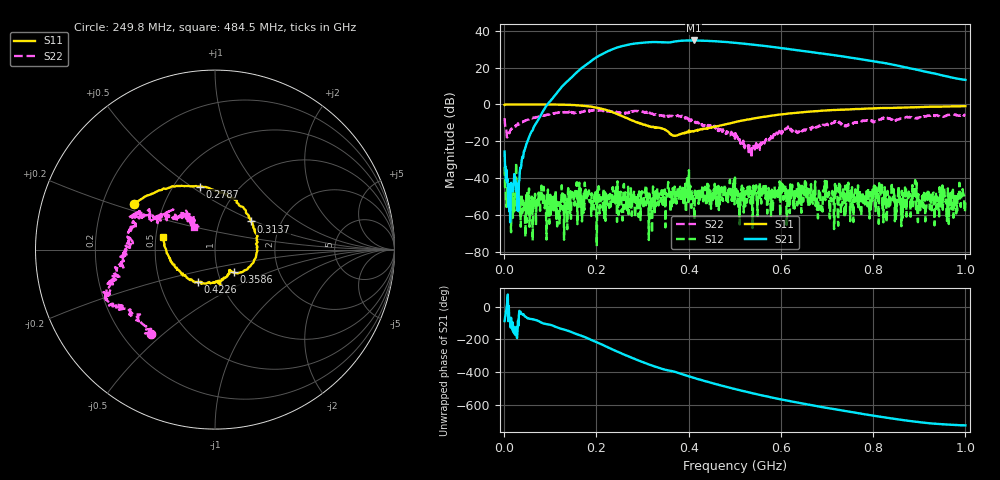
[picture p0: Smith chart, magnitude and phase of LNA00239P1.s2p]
! Created with skrf 1.9.0 (http://scikit-rf.org).
# Hz S RI R 50.0
!freq ReS11 ImS11 ReS21 ImS21 ReS12 ImS12 ReS22 ImS22
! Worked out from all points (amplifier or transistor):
!   1001 points, 1 MHz to 1 GHz, reference 50 ohm
!   highest |S21| = 34.7 dB at 410.6 MHz (marker M1)
!   |S21| within 3 dB of that: 256.9 MHz to 565.4 MHz (308.5 MHz wide, 75 % of centre)
!   unconditionally stable (mu >= 1): 4.505 MHz to 80.61 MHz; 245.8 MHz to 396.5 MHz; 400.8 MHz to end of sweep (the widest 3 of 29)
!   at 166.8 MHz: K = 1.53, MAG = 30.1 dB, |S12| = -49.3 dB
!   at 500.5 MHz: K = 1.14, MAG = 34.3 dB, |S12| = -39.7 dB
!   at 1 GHz: K = 6.95, MAG = 21.5 dB, |S12| = -52.4 dB
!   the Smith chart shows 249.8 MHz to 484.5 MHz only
!   S11 on the Smith chart (normalised r, x): 249.8 MHz: 0.34, +0.23; 278.7 MHz: 0.67, +0.54; 313.7 MHz: 1.41, +0.47; 358.6 MHz: 1.19, -0.31; 422.6 MHz: 0.78, -0.30; 484.5 MHz: 0.55, +0.08
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1000000  0.9746 0.0039  0.00207 -0.0526  -0.0183 -0.00852  0.2994 0.3012
1.07893e8  0.517 -0.8494  -0.7606 -1.435  0.00134 5.78e-05  0.4283 -0.3861
1.67833e8  -0.2607 -0.8898  -9.646 -0.3439  0.000915 0.000394  0.0343 -0.6393
2.11789e8  -0.692 -0.3163  -14.45 17.93  -9.85e-05 -0.00241  -0.2082 -0.6448
2.29771e8  -0.6515 -0.00403  -7.958 28.44  0.00237 0.0029  -0.2745 -0.5755
2.49751e8  -0.4531 0.2532  6.485 35.85  -0.00352 -0.00217  -0.3555 -0.4726
2.78722e8  -0.0855 0.3514  30.92 31.01  -0.00249 0.000809  -0.5757 -0.3023
3.13687e8  0.2 0.1569  48.08 5.639  -2.16e-05 -0.000209  -0.5451 -0.1708
3.34666e8  0.2328 -0.0163  47.71 -11.51  -0.00173 0.000567  -0.5099 -0.0173
3.58642e8  0.1034 -0.1254  41.03 -25.18  0.00248 -0.00118  -0.4738 0.1146
3.79621e8  0.0791 -0.1297  35.95 -38.61  -0.000487 0.00281  -0.445 0.1808
4.1059e8  -0.0318 -0.1804  14.1 -52.47  0.00039 -0.00157  -0.3268 0.1699
4.22578e8  -0.0957 -0.1821  4.872 -53.49  0.00265 0.00371  -0.2297 0.1703
4.5055e8  -0.2122 -0.1017  -15.5 -50.14  0.00239 -0.00106  -0.142 0.1981
4.84516e8  -0.2874 0.0675  -33.11 -36.24  0.00335 -0.000315  -0.1163 0.1251
5.005e8  -0.2891 0.1656  -38.22 -27.6  0.0102 -0.00213  -0.0947 0.0683
5.39461e8  -0.2014 0.3601  -41.31 -6.923  0.00133 0.000594  -0.0733 -0.00929
5.84416e8  0.00194 0.5057  -34.26 11.2  0.00242 -0.00326  -0.1397 -0.0642
6.67333e8  0.4085 0.5005  -11.58 23.24  -0.00036 -0.00324  -0.2345 -0.0407
7.53247e8  0.683 0.2789  4.834 17.75  -0.00252 0.00172  -0.302 0.0177
8.34166e8  0.8019 0.0127  9.874 7.828  -0.00144 0.00089  -0.4024 0.0299
1e9  0.727 -0.5271  4.591 -0.5642  -0.00098 -0.00218  -0.3338 0.3693
